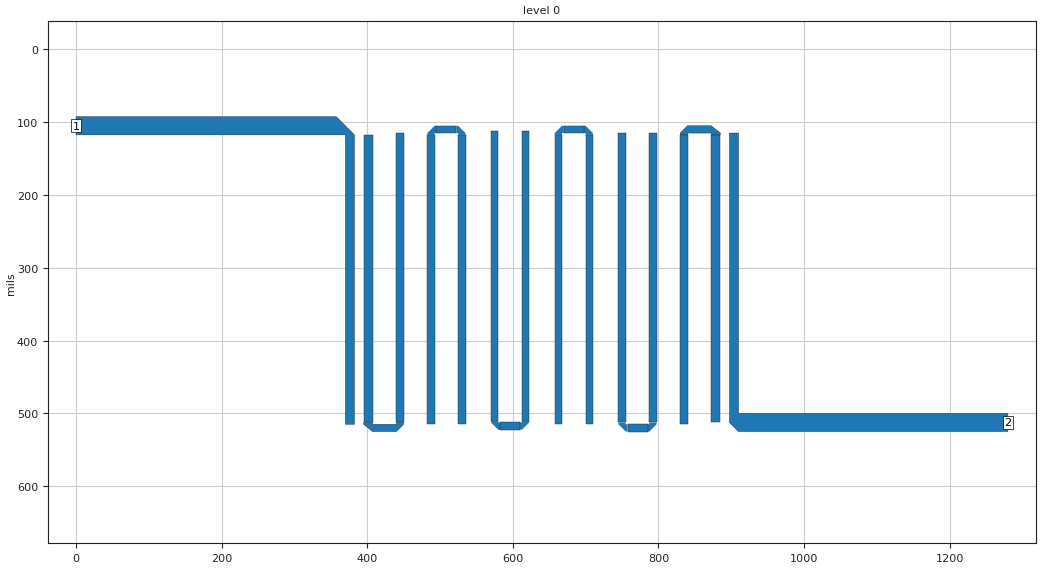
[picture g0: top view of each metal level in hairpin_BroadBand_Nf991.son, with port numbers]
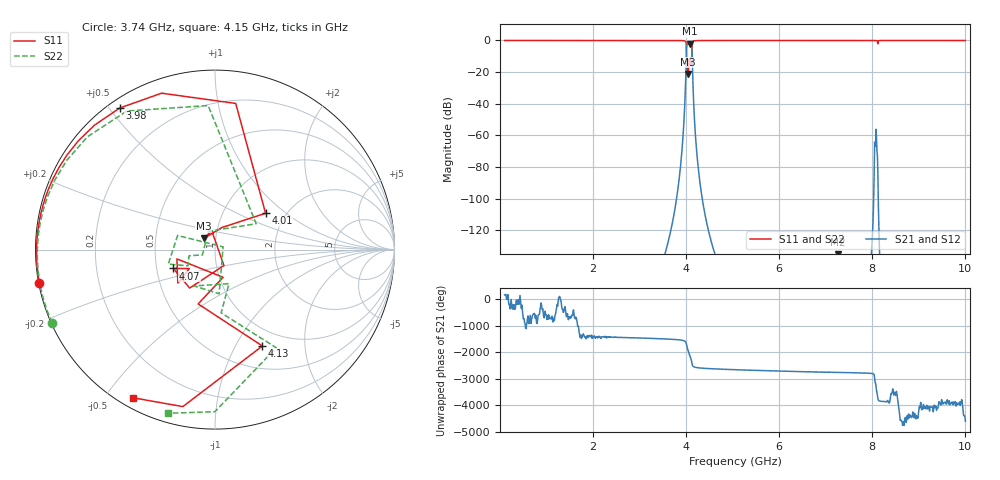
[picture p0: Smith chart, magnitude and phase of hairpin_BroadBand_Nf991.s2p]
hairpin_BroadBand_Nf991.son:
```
FTYP SONPROJ 19 ! Sonnet Project File
VER 18.56
HEADER
LIC sonnet10.72.52417
DAT 03/21/2023 18:33:09
BUILT_BY_CREATED example 18.56 08/23/2022 14:03:15
BUILT_BY_SAVED sonnet 18.56
MDATE 10/24/2012 11:01:19
HDATE 10/24/2012 11:01:19
EXF
END HEADER
DIM
ANG DEG
CAP PF
CON /OH
FREQ GHZ
IND NH
LNG mils
RES OH
END DIM
CONTROL
VARSWP
OPTIONS  -d
SPEED 0
CACHE_ABS 2
Q_ACC N
END CONTROL
GEO
DRP1 LEFT FIX 357.5
DRP1 RIGHT FIX 370
DRP1 BOTTOM FIX 160
TMET "Lossless" 0 SUP 0 0 0 0
BMET "Lossless" 0 SUP 0 0 0 0
BOX 1 1280 640 1024 512 20 0
      20 2.94 1 0.0012 0 0 2 "Rogers RT6002"
      20 2.94 1 0.0012 0 0 2 "Rogers RT6002"
LORGN 0 640 U 
POR1 BOX
POLY 148 1
5
1 50 0 0 0 0 105 
POR1 BOX
POLY 150 1
6
2 50 0 0 0 1280 512.5 
NUM 28
0 8 -1 N 148 1 1 100 100 0 0 0 Y
370 117.5
370 515
382.5 515
382.5 117.5
357.5 92.5
0 92.5
0 117.5
370 117.5
END
0 8 -1 N 150 1 1 100 100 0 0 0 Y
1280 500
910 500
910 115
897.5 115
897.5 512.5
910 525
1280 525
1280 500
END
0 5 -1 N 152 1 1 100 100 0 0 0 Y
482.5 117.5
492.5 117.5
492.5 515
482.5 515
482.5 117.5
END
0 5 -1 N 153 1 1 100 100 0 0 0 Y
525 117.5
535 117.5
535 515
525 515
525 117.5
END
0 8 -1 N 154 1 1 100 100 0 0 0 Y
525 117.5
525 115
522.5 115
522.5 105
525 105
535 115
535 117.5
525 117.5
END
0 8 -1 N 155 1 1 100 100 0 0 0 Y
492.5 117.5
492.5 115
495 115
495 105
492.5 105
482.5 115
482.5 117.5
492.5 117.5
END
0 5 -1 N 156 1 1 100 100 0 0 0 Y
495 105
522.5 105
522.5 115
495 115
495 105
END
0 5 -1 N 157 1 1 100 100 0 0 0 Y
657.5 117.5
667.5 117.5
667.5 515
657.5 515
657.5 117.5
END
0 5 -1 N 158 1 1 100 100 0 0 0 Y
700 117.5
710 117.5
710 515
700 515
700 117.5
END
0 8 -1 N 159 1 1 100 100 0 0 0 Y
700 117.5
700 115
697.5 115
697.5 105
700 105
710 115
710 117.5
700 117.5
END
0 8 -1 N 160 1 1 100 100 0 0 0 Y
667.5 117.5
667.5 115
670 115
670 105
667.5 105
657.5 115
657.5 117.5
667.5 117.5
END
0 5 -1 N 161 1 1 100 100 0 0 0 Y
670 105
697.5 105
697.5 115
670 115
670 105
END
0 5 -1 N 162 1 1 100 100 0 0 0 Y
570 510
580 510
580 112.5
570 112.5
570 510
END
0 5 -1 N 163 1 1 100 100 0 0 0 Y
612.5 510
622.5 510
622.5 112.5
612.5 112.5
612.5 510
END
0 8 -1 N 164 1 1 100 100 0 0 0 Y
612.5 510
612.5 512.5
610 512.5
610 522.5
612.5 522.5
622.5 512.5
622.5 510
612.5 510
END
0 8 -1 N 165 1 1 100 100 0 0 0 Y
580 510
580 512.5
582.5 512.5
582.5 522.5
580 522.5
570 512.5
570 510
580 510
END
0 5 -1 N 166 1 1 100 100 0 0 0 Y
582.5 522.5
610 522.5
610 512.5
582.5 512.5
582.5 522.5
END
0 5 -1 N 167 1 1 100 100 0 0 0 Y
745 512.5
755 512.5
755 115
745 115
745 512.5
END
0 5 -1 N 168 1 1 100 100 0 0 0 Y
787.5 512.5
797.5 512.5
797.5 115
787.5 115
787.5 512.5
END
0 8 -1 N 169 1 1 100 100 0 0 0 Y
787.5 512.5
787.5 515
785 515
785 525
787.5 525
797.5 515
797.5 512.5
787.5 512.5
END
0 8 -1 N 170 1 1 100 100 0 0 0 Y
755 512.5
755 515
757.5 515
757.5 525
755 525
745 515
745 512.5
755 512.5
END
0 5 -1 N 171 1 1 100 100 0 0 0 Y
757.5 525
785 525
785 515
757.5 515
757.5 525
END
0 11 -1 N 172 1 1 100 100 0 0 0 Y
395 512.5
407.5 512.5
407.5 515
440 515
440 512.5
450 512.5
450 515
440 525
407.5 525
395 515
395 512.5
END
0 5 -1 N 173 1 1 100 100 0 0 0 Y
395 117.5
407.5 117.5
407.5 512.5
395 512.5
395 117.5
END
0 5 -1 N 174 1 1 100 100 0 0 0 Y
440 115
450 115
450 512.5
440 512.5
440 115
END
0 11 -1 N 175 1 1 100 100 0 0 0 Y
885 117.5
872.5 117.5
872.5 115
840 115
840 117.5
830 117.5
830 115
840 105
872.5 105
885 115
885 117.5
END
0 5 -1 N 176 1 1 100 100 0 0 0 Y
885 512.5
872.5 512.5
872.5 117.5
885 117.5
885 512.5
END
0 5 -1 N 177 1 1 100 100 0 0 0 Y
840 515
830 515
830 117.5
840 117.5
840 515
END
END GEO
OPT
MAX 100
END OPT
VARSWP
ENABLED Y
FREQ Y AN SWEEP 0.1 10.0 0.01
END
END VARSWP
FILEOUT
TOUCH D Y $BASENAME.s2p IC 15 S MA R 50.00000
FOLDER .
END FILEOUT
```
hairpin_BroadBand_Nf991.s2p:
! Sonnet Data File
! From: em Version : 18.56
! From Project: hairpin_BroadBand_Nf991
! Data is De-embedded
! Data File Written: 03/21/2023 19:02:32
!< HDATE 10/24/2012 11:01:19
!< MDATE 10/24/2012 11:01:19
# GHZ S MA R 50.00000
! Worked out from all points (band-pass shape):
!   991 points, 100 MHz to 10 GHz, reference 50 ohm
!   highest |S21| = -1.98 dB at 4.08 GHz (marker M1); lowest = -199.0 dB at 7.26 GHz (marker M2)
!   |S21| within 3 dB of the highest: 4.01 GHz to 4.122 GHz (112.5 MHz wide, 2.77 % of centre)
!   lowest |S11| = -21.1 dB at 4.03 GHz (marker M3), VSWR 1.19, Z = 43.8 + j5.54 ohm
!   |S11| at or under -10 dB: 4.011 GHz to 4.12 GHz (109 MHz wide, 2.68 % of centre)
!   |S22| runs from -26.4 to 0.0 dB; largest |S21 - S12| = 7.8e-12
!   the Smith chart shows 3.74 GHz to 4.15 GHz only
!   S11 on the Smith chart (normalised r, x): 3.74 GHz: 0.00, -0.09; 3.98 GHz: 0.03, +0.53; 4.01 GHz: 1.58, +0.73; 4.07 GHz: 0.61, -0.14; 4.13 GHz: 0.77, -1.29; 4.15 GHz: 0.04, -0.59
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0.1  0.9999 -3.0  8.675e-12 161.1  8.675e-12 161.1  0.9999 -2.8
3.74  0.9956 -169.4  3.24e-06 -75.0  3.24e-06 -75.0  0.9958 -155.8
3.98  0.9509 124.0  0.01997 -151.2  0.01997 -151.2  0.9488 138.5
4.01  0.3469 35.7  0.5674 77.3  0.5674 77.3  0.2709 32.2
4.03  0.08818 134.7  0.7749 -72.9  0.7749 -72.9  0.07592 -157.0
4.07  0.2549 -155.7  0.7843 84.3  0.7843 84.3  0.2226 159.3
4.08  0.1779 -143.6  0.7959 35.1  0.7959 35.1  0.04794 18.7
4.13  0.5984 -63.8  0.3575 66.3  0.3575 66.3  0.6445 -58.0
4.15  0.9437 -119.0  0.02903 -8.0  0.02903 -8.0  0.9479 -105.9
5.06  0.9972 123.7  6.441e-09 -136.7  6.441e-09 -136.7  0.997 140.7
7.26  0.9978 25.4  1.126e-10 120.5  1.126e-10 120.5  0.9978 38.2
10  0.9956 -61.4  4.732e-12 85.9  4.732e-12 85.9  0.9963 -43.0
